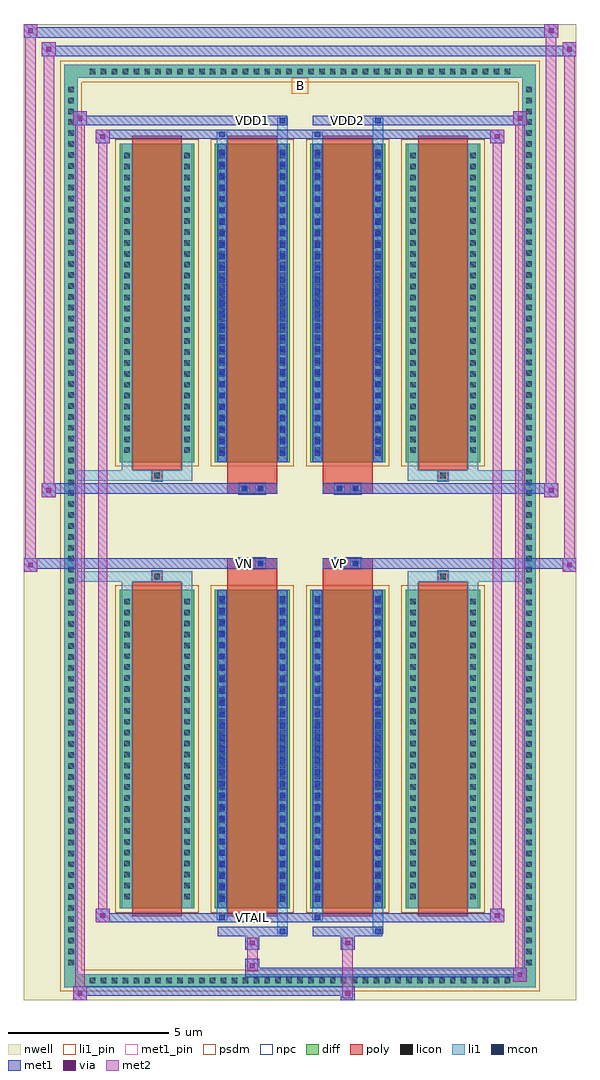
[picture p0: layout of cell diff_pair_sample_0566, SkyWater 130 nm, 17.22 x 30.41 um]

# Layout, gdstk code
import gdstk
lib = gdstk.Library(unit=1e-6, precision=5e-09)
def R(c, l, rs):  # rectangles x0, y0, x1, y1
    for r in rs: c.add(gdstk.rectangle(r[:2], r[2:], *l))
def A(c, l, x, y, w, h, nx, ny, dx, dy):  # array of equal rectangles
    R(c, l, [(x+i*dx, y+j*dy, x+i*dx+w, y+j*dy+h) for i in range(nx) for j in range(ny)])
def P(c, l, *ps):  # polygons
    for p in ps: c.add(gdstk.Polygon(p, *l))
nwell = (64, 20)
diff = (65, 20)
poly = (66, 20)
licon = (66, 44)
li1_pin = (67, 16)
li1 = (67, 20)
mcon = (67, 44)
met1_pin = (68, 16)
met1 = (68, 20)
via = (68, 44)
met2 = (69, 20)
psdm = (94, 20)
npc = (95, 20)

diff_pair_sample_0566 = lib.new_cell('diff_pair_sample_0566')
R(diff_pair_sample_0566, nwell, [(-8.61,-14.77,8.61,15.64), (-5.93,-12.96,-0.01,-0.8), (0.01,-12.96,5.93,-0.8), (-5.93,0.8,-0.01,12.96), (0.01,0.8,5.93,12.96)])
A(diff_pair_sample_0566, diff, -6.665, -14.37, 0.41, 0.41, 39, 2, 0.34, 28.33)
A(diff_pair_sample_0566, diff, -7.34, -13.805, 0.41, 0.41, 1, 81, 0, 0.34)
A(diff_pair_sample_0566, diff, 6.93, -13.805, 0.41, 0.41, 1, 81, 0, 0.34)
A(diff_pair_sample_0566, diff, -5.62, -11.915, 2.33, 9.93, 4, 2, 2.97, 13.9)
R(diff_pair_sample_0566, diff, [(-6.665,-14.37,6.665,-13.96), (-7.34,-13.805,-6.93,13.805), (6.93,-13.805,7.34,13.805), (-6.665,13.96,6.665,14.37)])
P(diff_pair_sample_0566, diff, [(7.34,14.37),(-7.34,14.37),(-7.34,-13.96),(-6.93,-13.96),(-6.93,13.96),(6.93,13.96),(6.93,-13.96),(-6.93,-13.96),(-7.34,-13.96),(-7.34,-14.37),(7.34,-14.37)])
A(diff_pair_sample_0566, poly, -5.23, -12.165, 1.55, 10.43, 4, 2, 2.97, 13.9)
R(diff_pair_sample_0566, poly, [(-4.62,-1.735,-4.29,-1.405), (-4.62,-1.735,-4.29,-1.405), (-2.26,-1.735,-0.71,-1.33), (0.71,-1.735,2.26,-1.33), (4.29,-1.735,4.62,-1.405), (4.29,-1.735,4.62,-1.405), (-2.26,-1.33,-0.71,-1), (-1.9,-1.33,-1.57,-1), (-1.4,-1.33,-1.07,-1), (0.71,-1.33,2.26,-1), (1.07,-1.33,1.4,-1), (1.57,-1.33,1.9,-1), (-2.26,1,-0.71,1.33), (-1.9,1,-1.57,1.33), (-1.4,1,-1.07,1.33), (0.71,1,2.26,1.33), (1.07,1,1.4,1.33), (1.57,1,1.9,1.33), (-2.26,1.33,-0.71,1.735), (0.71,1.33,2.26,1.735), (-4.62,1.405,-4.29,1.735), (-4.62,1.405,-4.29,1.735), (4.29,1.405,4.62,1.735), (4.29,1.405,4.62,1.735)])
A(diff_pair_sample_0566, licon, -6.545, -14.25, 0.17, 0.17, 39, 2, 0.34, 28.33)
A(diff_pair_sample_0566, licon, -7.22, -13.685, 0.17, 0.17, 1, 81, 0, 0.34)
A(diff_pair_sample_0566, licon, 7.05, -13.685, 0.17, 0.17, 1, 81, 0, 0.34)
A(diff_pair_sample_0566, licon, -5.48, -11.625, 0.17, 0.17, 1, 28, 0, 0.34)
A(diff_pair_sample_0566, licon, -3.6, -11.625, 0.17, 0.17, 1, 28, 0, 0.34)
A(diff_pair_sample_0566, licon, -2.51, -11.625, 0.17, 0.17, 1, 28, 0, 0.34)
A(diff_pair_sample_0566, licon, -0.63, -11.625, 0.17, 0.17, 1, 28, 0, 0.34)
A(diff_pair_sample_0566, licon, 0.46, -11.625, 0.17, 0.17, 1, 28, 0, 0.34)
A(diff_pair_sample_0566, licon, 2.34, -11.625, 0.17, 0.17, 1, 28, 0, 0.34)
A(diff_pair_sample_0566, licon, 3.43, -11.625, 0.17, 0.17, 1, 28, 0, 0.34)
A(diff_pair_sample_0566, licon, 5.31, -11.625, 0.17, 0.17, 1, 28, 0, 0.34)
A(diff_pair_sample_0566, licon, -5.48, 2.275, 0.17, 0.17, 1, 28, 0, 0.34)
A(diff_pair_sample_0566, licon, -3.6, 2.275, 0.17, 0.17, 1, 28, 0, 0.34)
A(diff_pair_sample_0566, licon, -2.51, 2.275, 0.17, 0.17, 1, 28, 0, 0.34)
A(diff_pair_sample_0566, licon, -0.63, 2.275, 0.17, 0.17, 1, 28, 0, 0.34)
A(diff_pair_sample_0566, licon, 0.46, 2.275, 0.17, 0.17, 1, 28, 0, 0.34)
A(diff_pair_sample_0566, licon, 2.34, 2.275, 0.17, 0.17, 1, 28, 0, 0.34)
A(diff_pair_sample_0566, licon, 3.43, 2.275, 0.17, 0.17, 1, 28, 0, 0.34)
A(diff_pair_sample_0566, licon, 5.31, 2.275, 0.17, 0.17, 1, 28, 0, 0.34)
R(diff_pair_sample_0566, licon, [(-4.54,-1.655,-4.37,-1.485), (4.37,-1.655,4.54,-1.485), (-1.82,-1.25,-1.65,-1.08), (-1.32,-1.25,-1.15,-1.08), (1.15,-1.25,1.32,-1.08), (1.65,-1.25,1.82,-1.08), (-1.82,1.08,-1.65,1.25), (-1.32,1.08,-1.15,1.25), (1.15,1.08,1.32,1.25), (1.65,1.08,1.82,1.25), (-4.54,1.485,-4.37,1.655), (4.37,1.485,4.54,1.655)])
R(diff_pair_sample_0566, li1_pin, [(-0.25,13.46,0.25,13.96)])
A(diff_pair_sample_0566, li1, -6.625, -14.33, 0.33, 0.33, 39, 2, 0.34, 28.33)
A(diff_pair_sample_0566, li1, -7.3, -13.765, 0.33, 0.33, 1, 81, 0, 0.34)
A(diff_pair_sample_0566, li1, 6.97, -13.765, 0.33, 0.33, 1, 81, 0, 0.34)
A(diff_pair_sample_0566, li1, -2.51, -11.715, 0.17, 0.17, 1, 27, 0, 0.36)
A(diff_pair_sample_0566, li1, -0.63, -11.715, 0.17, 0.17, 1, 27, 0, 0.36)
A(diff_pair_sample_0566, li1, 0.46, -11.715, 0.17, 0.17, 1, 27, 0, 0.36)
A(diff_pair_sample_0566, li1, 2.34, -11.715, 0.17, 0.17, 1, 27, 0, 0.36)
A(diff_pair_sample_0566, li1, -5.56, -11.705, 0.33, 0.33, 1, 28, 0, 0.34)
A(diff_pair_sample_0566, li1, -3.68, -11.705, 0.33, 0.33, 1, 28, 0, 0.34)
A(diff_pair_sample_0566, li1, -2.59, -11.705, 0.33, 0.33, 1, 28, 0, 0.34)
A(diff_pair_sample_0566, li1, -0.71, -11.705, 0.33, 0.33, 1, 28, 0, 0.34)
A(diff_pair_sample_0566, li1, 0.38, -11.705, 0.33, 0.33, 1, 28, 0, 0.34)
A(diff_pair_sample_0566, li1, 2.26, -11.705, 0.33, 0.33, 1, 28, 0, 0.34)
A(diff_pair_sample_0566, li1, 3.35, -11.705, 0.33, 0.33, 1, 28, 0, 0.34)
A(diff_pair_sample_0566, li1, 5.23, -11.705, 0.33, 0.33, 1, 28, 0, 0.34)
A(diff_pair_sample_0566, li1, -2.51, 2.185, 0.17, 0.17, 1, 27, 0, 0.36)
A(diff_pair_sample_0566, li1, -0.63, 2.185, 0.17, 0.17, 1, 27, 0, 0.36)
A(diff_pair_sample_0566, li1, 0.46, 2.185, 0.17, 0.17, 1, 27, 0, 0.36)
A(diff_pair_sample_0566, li1, 2.34, 2.185, 0.17, 0.17, 1, 27, 0, 0.36)
A(diff_pair_sample_0566, li1, -5.56, 2.195, 0.33, 0.33, 1, 28, 0, 0.34)
A(diff_pair_sample_0566, li1, -3.68, 2.195, 0.33, 0.33, 1, 28, 0, 0.34)
A(diff_pair_sample_0566, li1, -2.59, 2.195, 0.33, 0.33, 1, 28, 0, 0.34)
A(diff_pair_sample_0566, li1, -0.71, 2.195, 0.33, 0.33, 1, 28, 0, 0.34)
A(diff_pair_sample_0566, li1, 0.38, 2.195, 0.33, 0.33, 1, 28, 0, 0.34)
A(diff_pair_sample_0566, li1, 2.26, 2.195, 0.33, 0.33, 1, 28, 0, 0.34)
A(diff_pair_sample_0566, li1, 3.35, 2.195, 0.33, 0.33, 1, 28, 0, 0.34)
A(diff_pair_sample_0566, li1, 5.23, 2.195, 0.33, 0.33, 1, 28, 0, 0.34)
R(diff_pair_sample_0566, li1, [(-7.34,-14.37,-6.93,-13.96), (-7.34,-14.37,-6.93,-13.96), (-6.93,-14.37,6.93,-13.96), (6.93,-14.37,7.34,-13.96), (6.93,-14.37,7.34,-13.96), (-7.34,-13.96,-6.93,13.96), (6.93,-13.96,7.34,13.96), (-0.71,-12.72,-0.38,-11.915), (-0.63,-12.72,-0.46,-12.55), (2.26,-12.72,2.59,-11.915), (2.34,-12.72,2.51,-12.55), (-2.59,-12.29,-2.26,-11.915), (-2.51,-12.29,-2.34,-12.12), (0.38,-12.29,0.71,-11.915), (0.46,-12.29,0.63,-12.12), (-5.56,-11.915,-5.23,-1.985), (-3.68,-11.915,-3.35,-1.985), (-2.59,-11.915,-2.26,-1.985), (-0.71,-11.915,-0.38,-1.985), (0.38,-11.915,0.71,-1.985), (2.26,-11.915,2.59,-1.985), (3.35,-11.915,3.68,-1.985), (5.23,-11.915,5.56,-1.985), (-2.51,-11.715,-2.34,-2.185), (-0.63,-11.715,-0.46,-2.185), (0.46,-11.715,0.63,-2.185), (2.34,-11.715,2.51,-2.185), (-5.56,-1.985,-5.23,-1.405), (-3.68,-1.985,-3.35,-1.405), (3.35,-1.985,3.68,-1.405), (5.23,-1.985,5.56,-1.405), (-7.34,-1.735,-4.62,-1.405), (-5.56,-1.735,-4.62,-1.405), (-4.62,-1.735,-4.29,-1.405), (-4.29,-1.735,-3.35,-1.405), (3.35,-1.735,4.29,-1.405), (4.29,-1.735,4.62,-1.405), (4.29,-1.735,7.34,-1.405), (4.62,-1.735,5.56,-1.405), (-1.9,-1.33,-1.57,-1), (-1.4,-1.33,-1.07,-1), (1.07,-1.33,1.4,-1), (1.57,-1.33,1.9,-1), (-1.9,1,-1.57,1.33), (-1.4,1,-1.07,1.33), (1.07,1,1.4,1.33), (1.57,1,1.9,1.33), (-7.34,1.405,-4.62,1.735), (-5.56,1.405,-4.62,1.735), (-5.56,1.405,-5.23,1.985), (-4.62,1.405,-4.29,1.735), (-4.29,1.405,-3.35,1.735), (-3.68,1.405,-3.35,1.985), (3.35,1.405,4.29,1.735), (3.35,1.405,3.68,1.985), (4.29,1.405,4.62,1.735), (4.29,1.405,7.34,1.735), (4.62,1.405,5.56,1.735), (5.23,1.405,5.56,1.985), (-5.56,1.985,-5.23,11.915), (-3.68,1.985,-3.35,11.915), (-2.59,1.985,-2.26,11.915), (-0.71,1.985,-0.38,11.915), (0.38,1.985,0.71,11.915), (2.26,1.985,2.59,11.915), (3.35,1.985,3.68,11.915), (5.23,1.985,5.56,11.915), (-2.51,2.185,-2.34,11.715), (-0.63,2.185,-0.46,11.715), (0.46,2.185,0.63,11.715), (2.34,2.185,2.51,11.715), (-2.59,11.915,-2.26,12.29), (-0.71,11.915,-0.38,12.72), (0.38,11.915,0.71,12.29), (2.26,11.915,2.59,12.72), (-2.51,12.12,-2.34,12.29), (0.46,12.12,0.63,12.29), (-0.63,12.55,-0.46,12.72), (2.34,12.55,2.51,12.72), (-7.34,13.96,-6.93,14.37), (-7.34,13.96,-6.93,14.37), (-6.93,13.96,6.93,14.37), (6.93,13.96,7.34,14.37), (6.93,13.96,7.34,14.37)])
A(diff_pair_sample_0566, mcon, -2.51, -11.715, 0.17, 0.17, 1, 27, 0, 0.36)
A(diff_pair_sample_0566, mcon, -0.63, -11.715, 0.17, 0.17, 1, 27, 0, 0.36)
A(diff_pair_sample_0566, mcon, 0.46, -11.715, 0.17, 0.17, 1, 27, 0, 0.36)
A(diff_pair_sample_0566, mcon, 2.34, -11.715, 0.17, 0.17, 1, 27, 0, 0.36)
A(diff_pair_sample_0566, mcon, -2.51, 2.185, 0.17, 0.17, 1, 27, 0, 0.36)
A(diff_pair_sample_0566, mcon, -0.63, 2.185, 0.17, 0.17, 1, 27, 0, 0.36)
A(diff_pair_sample_0566, mcon, 0.46, 2.185, 0.17, 0.17, 1, 27, 0, 0.36)
A(diff_pair_sample_0566, mcon, 2.34, 2.185, 0.17, 0.17, 1, 27, 0, 0.36)
R(diff_pair_sample_0566, mcon, [(-0.63,-12.72,-0.46,-12.55), (2.34,-12.72,2.51,-12.55), (-2.51,-12.29,-2.34,-12.12), (0.46,-12.29,0.63,-12.12), (-1.82,-1.25,-1.65,-1.08), (-1.32,-1.25,-1.15,-1.08), (1.15,-1.25,1.32,-1.08), (1.65,-1.25,1.82,-1.08), (-1.82,1.08,-1.65,1.25), (-1.32,1.08,-1.15,1.25), (1.15,1.08,1.32,1.25), (1.65,1.08,1.82,1.25), (-2.51,12.12,-2.34,12.29), (0.46,12.12,0.63,12.29), (-0.63,12.55,-0.46,12.72), (2.34,12.55,2.51,12.72)])
R(diff_pair_sample_0566, met1_pin, [(-1.62,-12.33,-1.35,-12.06), (-1.87,-1.29,-1.6,-1.02), (1.1,-1.29,1.37,-1.02), (-1.62,12.51,-1.35,12.78), (1.35,12.51,1.62,12.78)])
A(diff_pair_sample_0566, met1, -2.57, -11.775, 0.29, 0.29, 1, 27, 0, 0.36)
A(diff_pair_sample_0566, met1, -0.69, -11.775, 0.29, 0.29, 1, 27, 0, 0.36)
A(diff_pair_sample_0566, met1, 0.4, -11.775, 0.29, 0.29, 1, 27, 0, 0.36)
A(diff_pair_sample_0566, met1, 2.28, -11.775, 0.29, 0.29, 1, 27, 0, 0.36)
A(diff_pair_sample_0566, met1, -2.57, 2.125, 0.29, 0.29, 1, 27, 0, 0.36)
A(diff_pair_sample_0566, met1, -0.69, 2.125, 0.29, 0.29, 1, 27, 0, 0.36)
A(diff_pair_sample_0566, met1, 0.4, 2.125, 0.29, 0.29, 1, 27, 0, 0.36)
A(diff_pair_sample_0566, met1, 2.28, 2.125, 0.29, 0.29, 1, 27, 0, 0.36)
R(diff_pair_sample_0566, met1, [(-7.07,-14.77,-6.64,-14.34), (1.27,-14.77,1.7,-14.34), (-7.07,-14.63,1.7,-14.34), (6.64,-14.2,7.07,-13.77), (-1.7,-14.06,7.07,-13.77), (-1.7,-13.92,-1.27,-13.49), (-1.7,-13.21,-1.27,-12.78), (1.27,-13.21,1.7,-12.78), (-2.57,-12.78,-0.4,-12.49), (-0.69,-12.78,-0.4,-12.49), (0.4,-12.78,2.57,-12.49), (2.28,-12.78,2.57,-12.49), (-6.36,-12.35,-5.93,-11.92), (-6.36,-12.35,-2.57,-12.06), (-2.57,-12.35,-2.28,-12.06), (-2.57,-12.35,-0.4,-12.06), (-0.4,-12.35,0.4,-12.06), (0.4,-12.35,0.69,-12.06), (0.4,-12.35,2.57,-12.06), (2.57,-12.35,6.36,-12.06), (5.93,-12.35,6.36,-11.92), (-2.57,-11.915,-2.28,-1.985), (-0.69,-11.915,-0.4,-1.985), (0.4,-11.915,0.69,-1.985), (2.28,-11.915,2.57,-1.985), (-8.61,-1.43,-8.18,-1), (8.18,-1.43,8.61,-1), (-8.61,-1.33,-0.71,-1), (-2.26,-1.33,-0.71,-1), (0.71,-1.33,2.26,-1), (0.71,-1.33,8.61,-1), (-1.88,-1.31,-1.59,-1.02), (-1.38,-1.31,-1.09,-1.02), (1.09,-1.31,1.38,-1.02), (1.59,-1.31,1.88,-1.02), (-8.04,0.9,-7.61,1.33), (7.61,0.9,8.04,1.33), (-8.04,1,-2.26,1.33), (-2.26,1,-0.71,1.33), (0.71,1,2.26,1.33), (2.26,1,8.04,1.33), (-1.88,1.02,-1.59,1.31), (-1.38,1.02,-1.09,1.31), (1.09,1.02,1.38,1.31), (1.59,1.02,1.88,1.31), (-2.57,1.985,-2.28,11.915), (-0.69,1.985,-0.4,11.915), (0.4,1.985,0.69,11.915), (2.28,1.985,2.57,11.915), (-6.36,11.92,-5.93,12.35), (5.93,11.92,6.36,12.35), (-6.36,12.06,-2.57,12.35), (-2.57,12.06,-2.28,12.35), (-2.57,12.06,-0.4,12.35), (-0.4,12.06,0.4,12.35), (0.4,12.06,0.69,12.35), (0.4,12.06,2.57,12.35), (2.57,12.06,6.36,12.35), (-7.07,12.49,-6.64,12.92), (-7.07,12.49,-2.57,12.78), (-2.57,12.49,-0.4,12.78), (-0.69,12.49,-0.4,12.78), (0.4,12.49,2.57,12.78), (2.28,12.49,2.57,12.78), (2.57,12.49,7.07,12.78), (6.64,12.49,7.07,12.92), (-8.04,14.64,-7.61,15.07), (-8.04,14.64,-5.93,14.97), (-5.93,14.64,5.93,14.97), (5.93,14.64,8.61,14.97), (8.18,14.64,8.61,15.07), (-8.61,15.21,-8.18,15.64), (-8.61,15.21,-5.93,15.54), (-5.93,15.21,5.93,15.54), (5.93,15.21,8.04,15.54), (7.61,15.21,8.04,15.64)])
R(diff_pair_sample_0566, via, [(-6.93,-14.63,-6.78,-14.48), (1.41,-14.63,1.56,-14.48), (6.78,-14.06,6.93,-13.91), (-1.56,-13.78,-1.41,-13.63), (-1.56,-13.07,-1.41,-12.92), (1.41,-13.07,1.56,-12.92), (-6.22,-12.21,-6.07,-12.06), (6.07,-12.21,6.22,-12.06), (-8.47,-1.29,-8.32,-1.14), (8.32,-1.29,8.47,-1.14), (-7.9,1.04,-7.75,1.19), (7.75,1.04,7.9,1.19), (-6.22,12.06,-6.07,12.21), (6.07,12.06,6.22,12.21), (-6.93,12.63,-6.78,12.78), (6.78,12.63,6.93,12.78), (-7.9,14.78,-7.75,14.93), (8.32,14.78,8.47,14.93), (-8.47,15.35,-8.32,15.5), (7.75,15.35,7.9,15.5)])
R(diff_pair_sample_0566, met2, [(-7.07,-14.77,-6.64,-14.34), (-7,-14.77,-6.71,12.92), (-6.71,-14.77,-6.64,-14.34), (-7.02,-14.72,-6.69,-14.39), (1.32,-14.72,1.65,-14.39), (1.32,-14.39,1.65,-13.16), (6.64,-14.2,7.07,-13.77), (6.71,-14.2,7,12.92), (7,-14.2,7.07,-13.77), (6.69,-14.15,7.02,-13.82), (-1.65,-13.87,-1.32,-13.54), (-1.65,-13.54,-1.32,-13.16), (-1.65,-13.16,-1.32,-12.83), (1.32,-13.16,1.65,-12.83), (-6.36,-12.35,-5.93,-11.92), (-6.29,-12.35,-6,12.35), (-6,-12.35,-5.93,-11.92), (5.93,-12.35,6.36,-11.92), (6,-12.35,6.29,12.35), (6.29,-12.35,6.36,-11.92), (-6.31,-12.3,-5.98,-11.97), (5.98,-12.3,6.31,-11.97), (-8.61,-1.43,-8.18,-1), (-8.56,-1.43,-8.23,15.64), (-8.23,-1.43,-8.18,-1), (8.18,-1.43,8.61,-1), (8.23,-1.43,8.56,15.07), (8.56,-1.43,8.61,-1), (-8.56,-1.38,-8.23,-1.05), (8.23,-1.38,8.56,-1.05), (-8.04,0.9,-7.61,1.33), (-7.99,0.9,-7.66,15.07), (-7.66,0.9,-7.61,1.33), (7.61,0.9,8.04,1.33), (7.66,0.9,7.99,15.64), (7.99,0.9,8.04,1.33), (-7.99,0.95,-7.66,1.28), (7.66,0.95,7.99,1.28), (-6.36,11.92,-5.93,12.35), (-6,11.92,-5.93,12.35), (5.93,11.92,6.36,12.35), (6.29,11.92,6.36,12.35), (-6.31,11.97,-5.98,12.3), (5.98,11.97,6.31,12.3), (-7.07,12.49,-6.64,12.92), (-6.71,12.49,-6.64,12.92), (6.64,12.49,7.07,12.92), (7,12.49,7.07,12.92), (-7.02,12.54,-6.69,12.87), (6.69,12.54,7.02,12.87), (-8.04,14.64,-7.61,15.07), (-7.66,14.64,-7.61,15.07), (8.18,14.64,8.61,15.07), (8.56,14.64,8.61,15.07), (-7.99,14.69,-7.66,15.02), (8.23,14.69,8.56,15.02), (-8.61,15.21,-8.18,15.64), (-8.23,15.21,-8.18,15.64), (7.61,15.21,8.04,15.64), (7.99,15.21,8.04,15.64), (-8.56,15.26,-8.23,15.59), (7.66,15.26,7.99,15.59)])
A(diff_pair_sample_0566, psdm, -5.75, -12.045, 2.59, 10.19, 4, 2, 2.97, 13.9)
P(diff_pair_sample_0566, psdm, [(7.47,14.5),(-7.47,14.5),(-7.47,-13.83),(-6.8,-13.83),(-6.8,13.83),(6.8,13.83),(6.8,-13.83),(-6.8,-13.83),(-7.47,-13.83),(-7.47,-14.5),(7.47,-14.5)])
R(diff_pair_sample_0566, npc, [(-4.64,-1.755,-4.27,-1.385), (4.27,-1.755,4.64,-1.385), (-1.92,-1.35,-1.55,-0.98), (-1.92,-1.35,-1.05,-0.98), (-1.92,-1.35,-1.05,-0.98), (-1.42,-1.35,-1.05,-0.98), (1.05,-1.35,1.42,-0.98), (1.05,-1.35,1.92,-0.98), (1.05,-1.35,1.92,-0.98), (1.55,-1.35,1.92,-0.98), (-1.92,0.98,-1.55,1.35), (-1.92,0.98,-1.05,1.35), (-1.92,0.98,-1.05,1.35), (-1.42,0.98,-1.05,1.35), (1.05,0.98,1.42,1.35), (1.05,0.98,1.92,1.35), (1.05,0.98,1.92,1.35), (1.55,0.98,1.92,1.35), (-4.64,1.385,-4.27,1.755), (4.27,1.385,4.64,1.755)])
diff_pair_sample_0566.add(gdstk.Label('VTAIL', (-1.485,-12.195), layer=68, texttype=5))
diff_pair_sample_0566.add(gdstk.Label('VN', (-1.735,-1.155), layer=68, texttype=5))
diff_pair_sample_0566.add(gdstk.Label('VP', (1.235,-1.155), layer=68, texttype=5))
diff_pair_sample_0566.add(gdstk.Label('B', (0,13.71), layer=67, texttype=5))
diff_pair_sample_0566.add(gdstk.Label('VDD2', (1.485,12.645), layer=68, texttype=5))
diff_pair_sample_0566.add(gdstk.Label('VDD1', (-1.485,12.645), layer=68, texttype=5))

lib.write_gds('diff_pair_sample_0566.gds')
